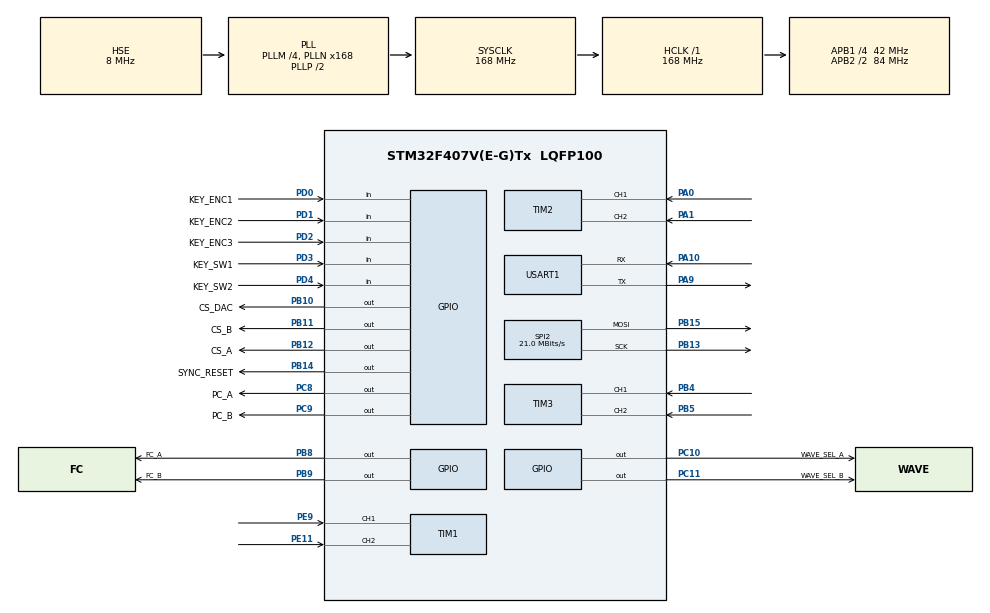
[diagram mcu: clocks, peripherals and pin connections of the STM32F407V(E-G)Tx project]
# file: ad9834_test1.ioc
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Mcu.Family=STM32F4
Mcu.Name=STM32F407V(E-G)Tx
Mcu.Package=LQFP100
NVIC.PriorityGroup=NVIC_PRIORITYGROUP_4
NVIC.USART1_IRQn=true\:0\:0\:false\:false\:true\:true\:true\:true
PA0-WKUP.Signal=S_TIM2_CH1_ETR
PA1.Signal=S_TIM2_CH2
PA10.Mode=Asynchronous
PA10.Signal=USART1_RX
PA13.Mode=Serial_Wire
PA13.Signal=SYS_JTMS-SWDIO
PA14.Mode=Serial_Wire
PA14.Signal=SYS_JTCK-SWCLK
PA9.Mode=Asynchronous
PA9.Signal=USART1_TX
PB10.GPIO_Label=CS_DAC
PB10.Signal=GPIO_Output
PB11.GPIO_Label=CS_B
PB11.Signal=GPIO_Output
PB12.GPIO_Label=CS_A
PB12.GPIO_Speed=GPIO_SPEED_FREQ_HIGH
PB12.PinState=GPIO_PIN_SET
PB12.Signal=GPIO_Output
PB13.Mode=TX_Only_Simplex_Unidirect_Master
PB13.Signal=SPI2_SCK
PB14.GPIO_Label=SYNC_RESET
PB14.Signal=GPIO_Output
PB15.Mode=TX_Only_Simplex_Unidirect_Master
PB15.Signal=SPI2_MOSI
PB4.Signal=S_TIM3_CH1
PB5.Signal=S_TIM3_CH2
PB8.GPIO_Label=FC_A
PB8.Signal=GPIO_Output
PB9.GPIO_Label=FC_B
PB9.Signal=GPIO_Output
PC10.GPIO_Label=WAVE_SEL_A
PC10.Signal=GPIO_Output
PC11.GPIO_Label=WAVE_SEL_B
PC11.Signal=GPIO_Output
PC8.GPIO_Label=PC_A
PC8.Signal=GPIO_Output
PC9.GPIO_Label=PC_B
PC9.Signal=GPIO_Output
PD0.GPIO_Label=KEY_ENC1
PD0.Signal=GPIO_Input
PD1.GPIO_Label=KEY_ENC2
PD1.Signal=GPIO_Input
PD2.GPIO_Label=KEY_ENC3
PD2.Signal=GPIO_Input
PD3.GPIO_Label=KEY_SW1
PD3.Signal=GPIO_Input
PD4.GPIO_Label=KEY_SW2
PD4.Signal=GPIO_Input
PE11.Signal=S_TIM1_CH2
PE9.Signal=S_TIM1_CH1
PH0-OSC_IN.Mode=HSE-External-Oscillator
PH0-OSC_IN.Signal=RCC_OSC_IN
PH1-OSC_OUT.Mode=HSE-External-Oscillator
PH1-OSC_OUT.Signal=RCC_OSC_OUT
ProjectManager.HeapSize=0x200
ProjectManager.StackSize=0x400
ProjectManager.TargetToolchain=MDK-ARM V5.32
RCC.48MHZClocksFreq_Value=84000000
RCC.AHBFreq_Value=168000000
RCC.APB1CLKDivider=RCC_HCLK_DIV4
RCC.APB1Freq_Value=42000000
RCC.APB1TimFreq_Value=84000000
RCC.APB2CLKDivider=RCC_HCLK_DIV2
RCC.APB2Freq_Value=84000000
RCC.APB2TimFreq_Value=168000000
RCC.CortexFreq_Value=168000000
RCC.HCLKFreq_Value=168000000
RCC.HSE_VALUE=8000000
RCC.HSI_VALUE=16000000
RCC.LSE_VALUE=32768
RCC.PLLM=4
RCC.PLLN=168
RCC.PLLSourceVirtual=RCC_PLLSOURCE_HSE
RCC.SYSCLKFreq_VALUE=168000000
RCC.SYSCLKSource=RCC_SYSCLKSOURCE_PLLCLK
RCC.VCOOutputFreq_Value=336000000
SH.S_TIM1_CH1.0=TIM1_CH1,Encoder_Interface
SH.S_TIM1_CH2.0=TIM1_CH2,Encoder_Interface
SH.S_TIM2_CH1_ETR.0=TIM2_CH1,Encoder_Interface
SH.S_TIM2_CH2.0=TIM2_CH2,Encoder_Interface
SH.S_TIM3_CH1.0=TIM3_CH1,Encoder_Interface
SH.S_TIM3_CH2.0=TIM3_CH2,Encoder_Interface
SPI2.CLKPolarity=SPI_POLARITY_HIGH
SPI2.CalculateBaudRate=21.0 MBits/s
SPI2.Direction=SPI_DIRECTION_2LINES
SPI2.Mode=SPI_MODE_MASTER
SPI2.VirtualType=VM_MASTER
USART1.VirtualMode=VM_ASYNC
board=custom

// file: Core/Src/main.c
/* USER CODE BEGIN Header */
/**
  ******************************************************************************
  * @file           : main.c
  * @brief          : Main program body
  ******************************************************************************
  * @attention
  *
  * Copyright (c) 2026 STMicroelectronics.
  * All rights reserved.
  *
  * This software is licensed under terms that can be found in the LICENSE file
  * in the root directory of this software component.
  * If no LICENSE file comes with this software, it is provided AS-IS.
  *
  ******************************************************************************
  */
/* USER CODE END Header */
#include "main.h"
#include "spi.h"
#include "tim.h"
#include "usart.h"
#include "gpio.h"

/* USER CODE BEGIN Includes */
#include "ad9834.h"
#include <stdio.h>
#include <stdlib.h>
#include <stdbool.h>
/* USER CODE END Includes */

/* USER CODE BEGIN PTD */

/**
 * @brief 编码器数据结构
 */
typedef struct {
    TIM_HandleTypeDef *tim;
    int16_t last_counter;
} encoder_t;

typedef enum {
    BTN_IDLE = 0, BTN_DEBOUNCE, BTN_PRESSED,
} btn_state_t;

typedef enum {
    EVT_NONE = 0, EVT_PRESS,
} btn_event_t;

typedef struct {
    uint16_t pin;
    GPIO_TypeDef *port;
    btn_state_t state;
    uint32_t last_tick;
} button_t;

typedef enum {
    TARGET_CH_A = 0, TARGET_CH_B = 1, TARGET_CH_BOTH = 2,
} target_ch_t;

typedef struct {
    uint32_t frequency_hz;
    int32_t amplitude_mv;
    uint16_t phase_x10;
} channel_params_t;

typedef struct {
    uint8_t freq_dirty : 1;
    uint8_t amp_dirty : 1;
    uint8_t phase_dirty : 1;
    uint8_t wave_dirty : 1;
} update_flags_t;

typedef struct {
    target_ch_t selected_ch;
    ad9834_wave_t wave_type;
    channel_params_t ch_a;
    channel_params_t ch_b;
    uint8_t digit_idx[3];
    update_flags_t flags;
} system_state_t;

/* USER CODE END PTD */

/* USER CODE BEGIN PD */

#define BTN_DEBOUNCE_MS         10

#define FREQ_MIN                1
#define FREQ_MAX                10000000UL

#define AMP_MIN                 (-18000)
#define AMP_MAX                 18000

#define PHASE_MIN               0
#define PHASE_MAX               3600

#define FREQ_DIGIT_MAX          6
#define AMP_DIGIT_MAX           3
#define PHASE_DIGIT_MAX         3

static const uint32_t FREQ_STEPS[]  = {1, 10, 100, 1000, 10000, 100000, 1000000};
static const int32_t  AMP_STEPS[]   = {10, 100, 1000, 10000};
static const uint16_t PHASE_STEPS[] = {1, 10, 100, 1000};

/* USER CODE END PD */

/* USER CODE BEGIN PV */

static ad9834_t g_ad9834_a;
static ad9834_t g_ad9834_b;

static encoder_t g_enc_freq;
static encoder_t g_enc_amp;
static encoder_t g_enc_phase;

static button_t g_btn_freq  = {KEY_ENC1_Pin, KEY_ENC1_GPIO_Port};
static button_t g_btn_amp   = {KEY_ENC2_Pin, KEY_ENC2_GPIO_Port};
static button_t g_btn_phase = {KEY_ENC3_Pin, KEY_ENC3_GPIO_Port};
static button_t g_btn_ch    = {KEY_SW1_Pin, KEY_SW1_GPIO_Port};
static button_t g_btn_wave  = {KEY_SW2_Pin, KEY_SW2_GPIO_Port};

static system_state_t g_state;

/* USER CODE END PV */

void SystemClock_Config(void);
/* USER CODE BEGIN PFP */

static int16_t Encoder_ReadDelta(encoder_t *enc);
static btn_event_t Button_Scan(button_t *btn);
static void AdjustFrequency(channel_params_t *ch, int8_t delta, uint8_t digit_idx);
static void AdjustAmplitude(channel_params_t *ch, int8_t delta, uint8_t digit_idx);
static void AdjustPhase(channel_params_t *ch, int8_t delta, uint8_t digit_idx);
static void SetWaveformGPIO(ad9834_wave_t wave);
static void UpdateDDS(system_state_t *state);
static void UpdateAmplitude(system_state_t *state);

/* USER CODE END PFP */

/* USER CODE BEGIN 0 */

static int16_t Encoder_ReadDelta(encoder_t *enc)
{
    int16_t current = (int16_t)__HAL_TIM_GET_COUNTER(enc->tim);
    int16_t raw = current - enc->last_counter;
    enc->last_counter = current;
    if (raw < -32767) raw += 65536;
    if (raw > 32767)  raw -= 65536;
    if (raw > -2 && raw < 2) return 0;
    return raw > 0 ? 1 : -1;
}

static btn_event_t Button_Scan(button_t *btn)
{
    GPIO_PinState level = HAL_GPIO_ReadPin(btn->port, btn->pin);
    uint32_t tick = HAL_GetTick();
    switch (btn->state) {
    case BTN_IDLE:
        if (level == GPIO_PIN_RESET) {
            btn->state = BTN_DEBOUNCE;
            btn->last_tick = tick;
        }
        break;
    case BTN_DEBOUNCE:
        if (level == GPIO_PIN_RESET) {
            if (tick - btn->last_tick >= BTN_DEBOUNCE_MS)
                btn->state = BTN_PRESSED;
        } else {
            btn->state = BTN_IDLE;
        }
        break;
    case BTN_PRESSED:
        if (level == GPIO_PIN_SET) {
            btn->state = BTN_IDLE;
            return EVT_PRESS;
        }
        break;
    }
    return EVT_NONE;
}

static void AdjustFrequency(channel_params_t *ch, int8_t delta, uint8_t digit_idx)
{
    if (digit_idx > FREQ_DIGIT_MAX) return;
    int32_t new_val = (int32_t)ch->frequency_hz + delta * (int32_t)FREQ_STEPS[digit_idx];
    if (new_val < FREQ_MIN)          new_val = FREQ_MIN;
    if (new_val > (int32_t)FREQ_MAX) new_val = (int32_t)FREQ_MAX;
    ch->frequency_hz = (uint32_t)new_val;
}

static void AdjustAmplitude(channel_params_t *ch, int8_t delta, uint8_t digit_idx)
{
    if (digit_idx > AMP_DIGIT_MAX) return;
    int32_t new_val = ch->amplitude_mv + delta * AMP_STEPS[digit_idx];
    if (new_val < AMP_MIN) new_val = AMP_MIN;
    if (new_val > AMP_MAX) new_val = AMP_MAX;
    ch->amplitude_mv = new_val;
}

static void AdjustPhase(channel_params_t *ch, int8_t delta, uint8_t digit_idx)
{
    if (digit_idx > PHASE_DIGIT_MAX) return;
    int16_t new_val = (int16_t)ch->phase_x10 + delta * (int16_t)PHASE_STEPS[digit_idx];
    if (new_val < PHASE_MIN) new_val = PHASE_MIN;
    if (new_val > PHASE_MAX) new_val = PHASE_MAX;
    ch->phase_x10 = (uint16_t)new_val;
}

static void SetWaveformGPIO(ad9834_wave_t wave)
{
    GPIO_PinState level = (wave == AD9834_WaveSineWithSquare)
                          ? GPIO_PIN_SET : GPIO_PIN_RESET;
    HAL_GPIO_WritePin(WAVE_SEL_A_GPIO_Port, WAVE_SEL_A_Pin, level);
    HAL_GPIO_WritePin(WAVE_SEL_B_GPIO_Port, WAVE_SEL_B_Pin, level);
}

static void UpdateDDS(system_state_t *state)
{
    if (!state->flags.freq_dirty && !state->flags.phase_dirty && !state->flags.wave_dirty)
        return;

    HAL_GPIO_WritePin(SYNC_RESET_GPIO_Port, SYNC_RESET_Pin, GPIO_PIN_SET);

    if (state->flags.wave_dirty) {
        AD9834_SetOutputWave(&g_ad9834_a, state->wave_type);
        AD9834_SetOutputWave(&g_ad9834_b, state->wave_type);
        SetWaveformGPIO(state->wave_type);
        state->flags.wave_dirty = 0;
    }
    if (state->flags.freq_dirty) {
        AD9834_SetFrequency(&g_ad9834_a, FREQ0_REG, state->ch_a.frequency_hz);
        AD9834_SetFrequency(&g_ad9834_b, FREQ0_REG, state->ch_b.frequency_hz);
        AD9834_SelectFrequencyRegOutput(&g_ad9834_a, FREQ0_REG);
        AD9834_SelectFrequencyRegOutput(&g_ad9834_b, FREQ0_REG);
        state->flags.freq_dirty = 0;
    }
    if (state->flags.phase_dirty) {
        AD9834_SetPhase(&g_ad9834_a, PHASE0_REG, state->ch_a.phase_x10 / 10);
        AD9834_SetPhase(&g_ad9834_b, PHASE0_REG, state->ch_b.phase_x10 / 10);
        AD9834_SelectPhaseRegOutput(&g_ad9834_a, PHASE0_REG);
        AD9834_SelectPhaseRegOutput(&g_ad9834_b, PHASE0_REG);
        state->flags.phase_dirty = 0;
    }

    HAL_GPIO_WritePin(SYNC_RESET_GPIO_Port, SYNC_RESET_Pin, GPIO_PIN_RESET);
}

static void UpdateAmplitude(system_state_t *state)
{
    if (!state->flags.amp_dirty) return;
    /*
     * 伪代码: DAC 幅值控制
     * uint16_t dac_a = abs(state->ch_a.amplitude_mv) * 4095 / 18000;
     * uint16_t dac_b = abs(state->ch_b.amplitude_mv) * 4095 / 18000;
     * HAL_GPIO_WritePin(CS_DAC_GPIO_Port, CS_DAC_Pin, GPIO_PIN_RESET);
     * uint8_t data_a[] = { (dac_a >> 8) & 0xFF, dac_a & 0xFF };
     * HAL_SPI_Transmit(&hspi2, data_a, 2, HAL_MAX_DELAY);
     * HAL_GPIO_WritePin(CS_DAC_GPIO_Port, CS_DAC_Pin, GPIO_PIN_SET);
     * // 同上写入 DAC_B
     * // 极性: HAL_GPIO_WritePin(POL_x_Port, POL_x_Pin,
     * //   state->ch_x.amplitude_mv < 0 ? SET : RESET);
     */
    state->flags.amp_dirty = 0;
}

/* USER CODE END 0 */

int main(void)
{

  /* MCU Configuration--------------------------------------------------------*/

  /* Reset of all peripherals, Initializes the Flash interface and the Systick. */
  HAL_Init();

  /* USER CODE BEGIN Init */

  /* (系统状态初始化在 MX 初始化完成后进行) */

  /* USER CODE END Init */

  /* Configure the system clock */
  SystemClock_Config();

  /* Initialize all configured peripherals */
  MX_GPIO_Init();
  MX_SPI2_Init();
  MX_USART1_UART_Init();
  MX_TIM1_Init();
  MX_TIM2_Init();
  MX_TIM3_Init();
  /* USER CODE BEGIN 2 */

  printf("*** DDS START ***\r\n");

  AD9834_Init(&g_ad9834_a, &hspi2, CS_A_Pin, CS_A_GPIO_Port);
  AD9834_Init(&g_ad9834_b, &hspi2, CS_B_Pin, CS_B_GPIO_Port);

  __HAL_TIM_SET_COUNTER(&htim2, 0);
  __HAL_TIM_SET_COUNTER(&htim3, 0);
  __HAL_TIM_SET_COUNTER(&htim1, 0);
  HAL_TIM_Encoder_Start(&htim2, TIM_CHANNEL_ALL);
  HAL_TIM_Encoder_Start(&htim3, TIM_CHANNEL_ALL);
  HAL_TIM_Encoder_Start(&htim1, TIM_CHANNEL_ALL);

  g_enc_freq.tim  = &htim2;
  g_enc_freq.last_counter = 0;
  g_enc_amp.tim   = &htim3;
  g_enc_amp.last_counter = 0;
  g_enc_phase.tim = &htim1;
  g_enc_phase.last_counter = 0;

  g_state.selected_ch = TARGET_CH_BOTH;
  g_state.wave_type   = AD9834_WaveSine;
  g_state.ch_a.frequency_hz  = 1000;
  g_state.ch_a.amplitude_mv  = 1000;
  g_state.ch_a.phase_x10     = 0;
  g_state.ch_b.frequency_hz  = 1000;
  g_state.ch_b.amplitude_mv  = 1000;
  g_state.ch_b.phase_x10     = 0;
  g_state.digit_idx[0] = 3;
  g_state.digit_idx[1] = 1;
  g_state.digit_idx[2] = 1;
  g_state.flags.freq_dirty  = 1;
  g_state.flags.phase_dirty = 1;
  g_state.flags.wave_dirty  = 1;
  g_state.flags.amp_dirty   = 0;

  UpdateDDS(&g_state);

  printf("A:%lu %+ld %u.%u  B:%lu %+ld %u.%u\r\n",
         g_state.ch_a.frequency_hz, g_state.ch_a.amplitude_mv,
         g_state.ch_a.phase_x10/10, g_state.ch_a.phase_x10%10,
         g_state.ch_b.frequency_hz, g_state.ch_b.amplitude_mv,
         g_state.ch_b.phase_x10/10, g_state.ch_b.phase_x10%10);

  /* USER CODE END 2 */

  /* Infinite loop */
  /* USER CODE BEGIN WHILE */
  while (1)
  {
      const uint8_t digit_max[] = {FREQ_DIGIT_MAX, AMP_DIGIT_MAX, PHASE_DIGIT_MAX};

      int8_t df = (int8_t)Encoder_ReadDelta(&g_enc_freq);
      int8_t da = (int8_t)Encoder_ReadDelta(&g_enc_amp);
      int8_t dp = (int8_t)Encoder_ReadDelta(&g_enc_phase);

      if (Button_Scan(&g_btn_freq) == EVT_PRESS) {
          g_state.digit_idx[0] = (g_state.digit_idx[0] + 1) % (digit_max[0] + 1);
          printf("F%d\r\n", g_state.digit_idx[0]);
      }
      if (Button_Scan(&g_btn_amp) == EVT_PRESS) {
          g_state.digit_idx[1] = (g_state.digit_idx[1] + 1) % (digit_max[1] + 1);
          printf("A%d\r\n", g_state.digit_idx[1]);
      }
      if (Button_Scan(&g_btn_phase) == EVT_PRESS) {
          g_state.digit_idx[2] = (g_state.digit_idx[2] + 1) % (digit_max[2] + 1);
          printf("P%d\r\n", g_state.digit_idx[2]);
      }

      if (Button_Scan(&g_btn_ch) == EVT_PRESS) {
          g_state.selected_ch = (g_state.selected_ch + 1) % 3;
          printf("CH:%s\r\n", g_state.selected_ch==0?"A":g_state.selected_ch==1?"B":"AB");
      }
      if (Button_Scan(&g_btn_wave) == EVT_PRESS) {
          g_state.wave_type = (ad9834_wave_t)((g_state.wave_type + 1) % 3);
          g_state.flags.wave_dirty = 1;
          printf("W:%s\r\n", g_state.wave_type==0?"Sin":g_state.wave_type==1?"Tri":"Sqr");
      }

      {
          bool chg = false;
          uint8_t m = g_state.selected_ch == TARGET_CH_BOTH ? 3
                    : g_state.selected_ch == TARGET_CH_A ? 1 : 2;
          if (m & 1) {
              if (df) { AdjustFrequency(&g_state.ch_a, df, g_state.digit_idx[0]); g_state.flags.freq_dirty = 1; chg = true; }
              if (da) { AdjustAmplitude(&g_state.ch_a, da, g_state.digit_idx[1]);  g_state.flags.amp_dirty = 1;  chg = true; }
              if (dp) { AdjustPhase(&g_state.ch_a, dp, g_state.digit_idx[2]);     g_state.flags.phase_dirty = 1; chg = true; }
          }
          if (m & 2) {
              if (df) { AdjustFrequency(&g_state.ch_b, df, g_state.digit_idx[0]); g_state.flags.freq_dirty = 1; chg = true; }
              if (da) { AdjustAmplitude(&g_state.ch_b, da, g_state.digit_idx[1]);  g_state.flags.amp_dirty = 1;  chg = true; }
              if (dp) { AdjustPhase(&g_state.ch_b, dp, g_state.digit_idx[2]);     g_state.flags.phase_dirty = 1; chg = true; }
          }
          if (chg) {
              printf("A%lu %+ld %u.%u  B%lu %+ld %u.%u\r\n",
                     g_state.ch_a.frequency_hz, g_state.ch_a.amplitude_mv,
                     g_state.ch_a.phase_x10/10, g_state.ch_a.phase_x10%10,
                     g_state.ch_b.frequency_hz, g_state.ch_b.amplitude_mv,
                     g_state.ch_b.phase_x10/10, g_state.ch_b.phase_x10%10);
          }
      }

      UpdateDDS(&g_state);
      UpdateAmplitude(&g_state);

      HAL_Delay(10);
  }
  /* USER CODE END WHILE */

  }

void SystemClock_Config(void)
{
  RCC_OscInitTypeDef RCC_OscInitStruct = {0};
  RCC_ClkInitTypeDef RCC_ClkInitStruct = {0};

  /** Configure the main internal regulator output voltage
  */
  __HAL_RCC_PWR_CLK_ENABLE();
  __HAL_PWR_VOLTAGESCALING_CONFIG(PWR_REGULATOR_VOLTAGE_SCALE1);

  /** Initializes the RCC Oscillators according to the specified parameters
  * in the RCC_OscInitTypeDef structure.
  */
  RCC_OscInitStruct.OscillatorType = RCC_OSCILLATORTYPE_HSE;
  RCC_OscInitStruct.HSEState = RCC_HSE_ON;
  RCC_OscInitStruct.PLL.PLLState = RCC_PLL_ON;
  RCC_OscInitStruct.PLL.PLLSource = RCC_PLLSOURCE_HSE;
  RCC_OscInitStruct.PLL.PLLM = 4;
  RCC_OscInitStruct.PLL.PLLN = 168;
  RCC_OscInitStruct.PLL.PLLP = RCC_PLLP_DIV2;
  RCC_OscInitStruct.PLL.PLLQ = 4;
  if (HAL_RCC_OscConfig(&RCC_OscInitStruct) != HAL_OK)
  {
    Error_Handler();
  }

  /** Initializes the CPU, AHB and APB buses clocks
  */
  RCC_ClkInitStruct.ClockType = RCC_CLOCKTYPE_HCLK|RCC_CLOCKTYPE_SYSCLK
                              |RCC_CLOCKTYPE_PCLK1|RCC_CLOCKTYPE_PCLK2;
  RCC_ClkInitStruct.SYSCLKSource = RCC_SYSCLKSOURCE_PLLCLK;
  RCC_ClkInitStruct.AHBCLKDivider = RCC_SYSCLK_DIV1;
  RCC_ClkInitStruct.APB1CLKDivider = RCC_HCLK_DIV4;
  RCC_ClkInitStruct.APB2CLKDivider = RCC_HCLK_DIV2;

  if (HAL_RCC_ClockConfig(&RCC_ClkInitStruct, FLASH_LATENCY_5) != HAL_OK)
  {
    Error_Handler();
  }
}

/* USER CODE BEGIN 4 */

int fputc(int ch, FILE *f)
{
    HAL_UART_Transmit(&huart1, (uint8_t *)&ch, 1, 0xFFFF);
    return ch;
}

/* USER CODE END 4 */

void Error_Handler(void)
{
  __disable_irq();
  while (1)
  {
  }
}
